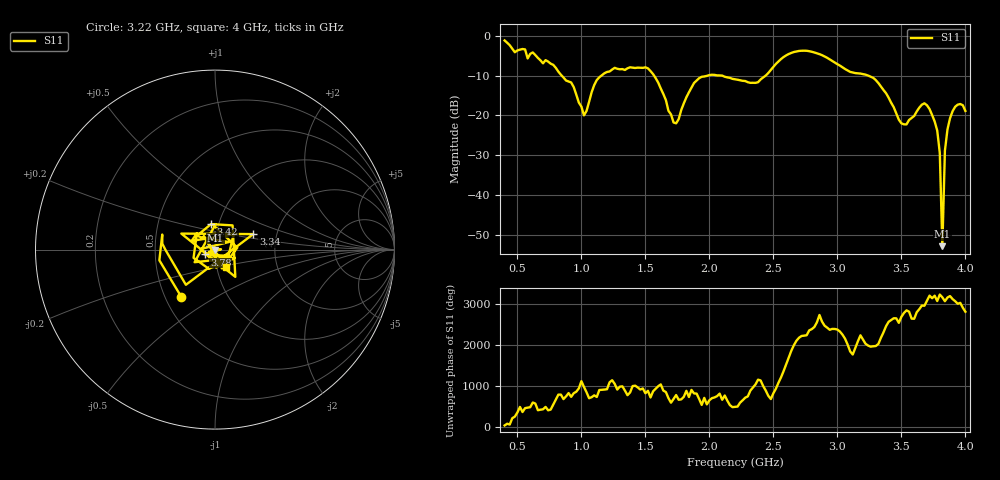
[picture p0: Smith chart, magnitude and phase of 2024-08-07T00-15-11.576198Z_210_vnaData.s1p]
!Created with skrf (http://scikit-rf.org).
# Hz S RI R 50.0
!freq ReS11 ImS11
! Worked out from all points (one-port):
!   181 points, 400 MHz to 4 GHz, reference 50 ohm
!   lowest |S11| = -52.9 dB at 3.82 GHz (marker M1), VSWR 1.00, Z = 50.1 - j0.206 ohm
!   |S11| at or under -10 dB: 1.567 GHz to 1.99 GHz (422.6 MHz wide, 23.8 % of centre); 2.089 GHz to 2.441 GHz (351.4 MHz wide, 15.5 % of centre); 3.239 GHz to end of sweep (the widest 3 of 4)
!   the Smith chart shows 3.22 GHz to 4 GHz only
!   S11 on the Smith chart (normalised r, x): 3.22 GHz: 0.61, -0.36; 3.34 GHz: 1.51, +0.28; 3.42 GHz: 0.92, +0.27; 3.78 GHz: 0.89, -0.05; 4 GHz: 1.11, -0.21
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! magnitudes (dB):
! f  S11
! 400 MHz  -1.2
! 860 MHz  -10.5
! 940 MHz  -12.9
! 1.02 GHz  -20.0
! 1.12 GHz  -11.1
! 1.3 GHz  -8.4
! 1.52 GHz  -8.2
! 1.6 GHz  -11.8
! 1.72 GHz  -21.8
! 1.76 GHz  -21.0
! 1.92 GHz  -10.7
! 2.2 GHz  -10.9
! 2.38 GHz  -11.7
! 2.66 GHz  -4.1
! 3.1 GHz  -9.1
! 3.22 GHz  -9.8
! 3.34 GHz  -12.8
! 3.42 GHz  -16.8
! 3.5 GHz  -22.0
! 3.56 GHz  -21.2
! 3.68 GHz  -17.0
! 3.78 GHz  -23.8
! 3.8 GHz  -29.5
! 3.82 GHz  -52.9
! 3.84 GHz  -28.9
! 3.86 GHz  -23.5
! 3.92 GHz  -17.9
! 4 GHz  -18.9
